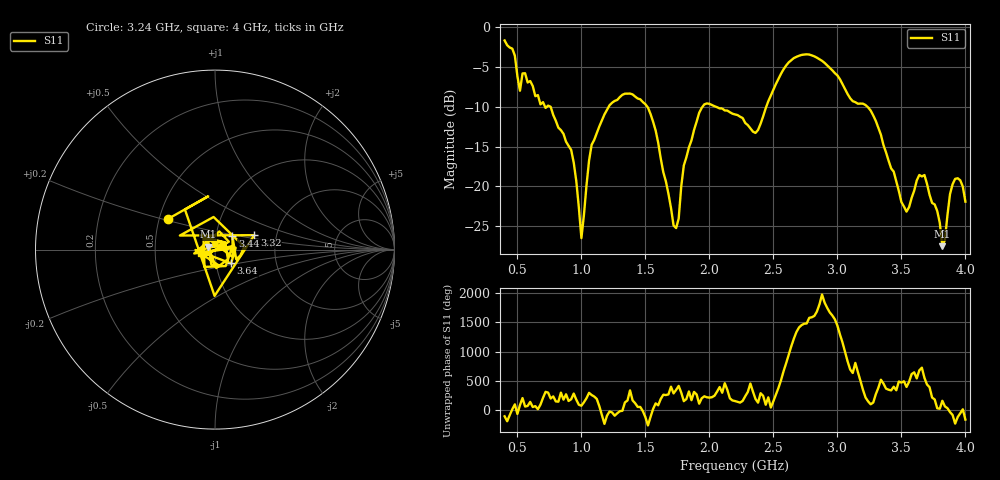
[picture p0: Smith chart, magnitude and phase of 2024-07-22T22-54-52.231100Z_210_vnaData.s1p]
!Created with skrf (http://scikit-rf.org).
# Hz S RI R 50.0
!freq ReS11 ImS11
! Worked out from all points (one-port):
!   181 points, 400 MHz to 4 GHz, reference 50 ohm
!   lowest |S11| = -27.5 dB at 3.82 GHz (marker M1), VSWR 1.09, Z = 46.2 + j1.49 ohm
!   |S11| at or under -10 dB: 760 MHz to 1.213 GHz (453.1 MHz wide, 45.9 % of centre); 1.515 GHz to 1.946 GHz (430.6 MHz wide, 24.9 % of centre); 3.235 GHz to end of sweep (the widest 3 of 5)
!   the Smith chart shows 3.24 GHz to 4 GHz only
!   S11 on the Smith chart (normalised r, x): 3.24 GHz: 0.55, +0.21; 3.32 GHz: 1.53, +0.26; 3.44 GHz: 1.20, +0.19; 3.64 GHz: 1.18, -0.18; 4 GHz: 0.86, -0.04
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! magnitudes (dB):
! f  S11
! 400 MHz  -1.7
! 480 MHz  -3.6
! 520 MHz  -8.0
! 560 MHz  -5.8
! 860 MHz  -13.4
! 940 MHz  -17.0
! 1 GHz  -26.5
! 1.08 GHz  -14.8
! 1.3 GHz  -8.8
! 1.52 GHz  -10.1
! 1.72 GHz  -24.9
! 1.76 GHz  -24.0
! 1.8 GHz  -17.4
! 1.94 GHz  -10.1
! 2.2 GHz  -11.0
! 2.36 GHz  -13.3
! 2.66 GHz  -3.9
! 2.88 GHz  -4.2
! 3.1 GHz  -8.9
! 3.24 GHz  -10.1
! 3.32 GHz  -12.6
! 3.44 GHz  -18.1
! 3.56 GHz  -22.6
! 3.64 GHz  -18.6
! 3.78 GHz  -23.1
! 3.82 GHz  -27.5
! 3.92 GHz  -19.0
! 4 GHz  -21.9
